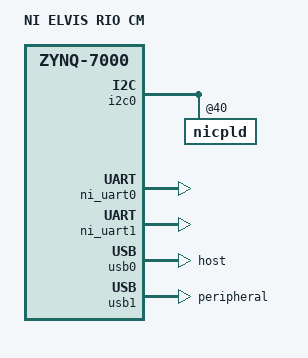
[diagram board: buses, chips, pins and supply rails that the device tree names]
/dts-v1/;
/include/ "ni-zynq.dtsi"

/* NIDEVCODE 7885 */

/ {
	model = "NI ELVIS RIO CM";
	compatible = "ni,zynq", "xlnx,zynq-7000";

	amba@0 {
		gpio: gpio@e000a000 {
			/* You can specify GPIO settings here:
			 *
			 *  gpioN-label      String label.
			 *  gpioN-direction  "input" or "output".
			 *  gpioN-settings   "output" - specifies the GPIO state as "high"
			 *                              or "low".
			 *                   "input"  - specifies GPIO interrupt settings as
			 *                              "none", "level-low", "level-high",
			 *                              "edge-falling", "edge-rising", or
			 *                              "edge-both".
			 */

			/* GPIO24 (MIO24) */
			gpio24-label     = "wdt_interrupt";
			gpio24-direction = "input";
			gpio24-settings  = "edge-falling";
		};

		i2c0: i2c@e0004000 {
			nicpld@40 {
				watchdogs {
					boot-watchdog {
						interrupt-parent = <&gpio>;
						interrupts = <24 0>;
					};
				};

				leds {
					status-1 {
						label = "nilrt:status:yellow";
						max-brightness = <0xFFFF>;
					};
				};
			};
		};
	};
};

&ni_uart0 {
	status = "okay";
	transceiver = "RS-232";
};

&ni_uart1 {
	status = "okay";
	transceiver = "RS-232";
};

&usb0 {
	status = "okay";
	dr_mode = "host";
};

&usb1 {
	status = "okay";
	dr_mode = "peripheral";
};

&clkc {
	/* Enable fclk1 for serial. */
	fclk-enable = <0x2>;
};
